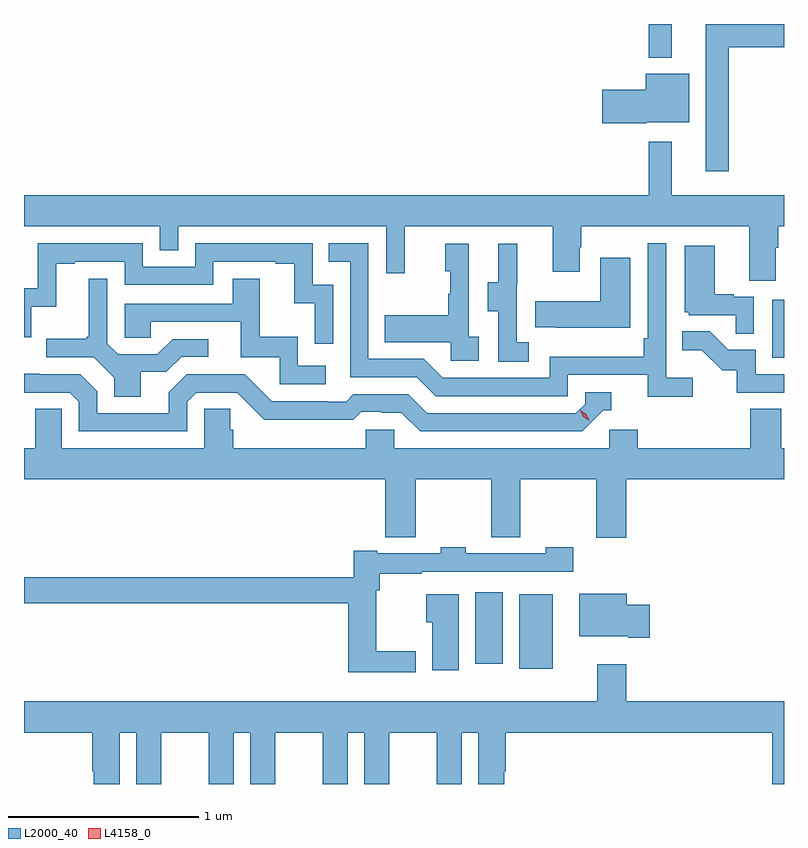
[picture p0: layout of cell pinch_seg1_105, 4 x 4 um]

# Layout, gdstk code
import gdstk
lib = gdstk.Library(unit=1e-6, precision=1e-09)
def R(c, l, rs):  # rectangles x0, y0, x1, y1
    for r in rs: c.add(gdstk.rectangle(r[:2], r[2:], *l))
def P(c, l, *ps):  # polygons
    for p in ps: c.add(gdstk.Polygon(p, *l))
L2000_40 = (2000, 40)
L4158_0 = (4158, 0)

pinch_seg1_105 = lib.new_cell('pinch_seg1_105')
R(pinch_seg1_105, L2000_40, [(1024.724,556.064,1024.9,556.456), (1024.493,556.089,1024.636,556.465), (1026.056,557.7,1026.117,558.007), (1025.406,559.28,1025.527,559.457)])
P(pinch_seg1_105, L2000_40, [(1025.827,559.334),(1026.117,559.334),(1026.117,559.457),(1025.705,559.457),(1025.705,558.681),(1025.827,558.681)],
  [(1025.394,558.941),(1025.617,558.941),(1025.617,559.195),(1025.39,559.195),(1025.39,559.112),(1025.16,559.112),(1025.16,558.934),(1025.394,558.934)],
  [(1026.073,558.28),(1026.086,558.28),(1026.086,558.392),(1026.117,558.392),(1026.117,558.556),(1025.527,558.556),(1025.527,558.838),(1025.406,558.838),(1025.406,558.556),(1022.117,558.556),(1022.117,558.392),(1022.832,558.392),(1022.832,558.265),(1022.928,558.265),(1022.928,558.392),(1024.023,558.392),(1024.023,558.144),(1024.121,558.144),(1024.121,558.392),(1024.901,558.392),(1024.901,558.153),(1025.041,558.153),(1025.041,558.281),(1025.049,558.281),(1025.049,558.392),(1025.933,558.392),(1025.933,558.106),(1026.073,558.106)],
  [(1025.638,557.596),(1025.496,557.596),(1025.496,558.304),(1025.4,558.304),(1025.4,557.803),(1025.38,557.803),(1025.38,557.707),(1024.884,557.707),(1024.884,557.595),(1024.32,557.595),(1024.221,557.694),(1023.93,557.694),(1023.93,558.303),(1023.721,558.303),(1023.721,558.207),(1023.834,558.207),(1023.834,557.598),(1024.184,557.598),(1024.283,557.499),(1024.98,557.499),(1024.98,557.61),(1025.399,557.61),(1025.399,557.494),(1025.638,557.494)],
  [(1023.744,558.084),(1023.636,558.084),(1023.636,558.303),(1023.018,558.303),(1023.018,558.18),(1022.742,558.18),(1022.742,558.303),(1022.19,558.303),(1022.19,558.067),(1022.117,558.067),(1022.117,557.808),(1022.154,557.808),(1022.154,557.969),(1022.287,557.969),(1022.287,558.195),(1022.383,558.195),(1022.383,558.207),(1022.646,558.207),(1022.646,558.084),(1023.114,558.084),(1023.114,558.207),(1023.443,558.207),(1023.443,558.195),(1023.539,558.195),(1023.539,557.987),(1023.648,557.987),(1023.648,557.775),(1023.744,557.775)],
  [(1024.51,557.81),(1024.458,557.81),(1024.458,558.301),(1024.334,558.301),(1024.334,558.156),(1024.36,558.156),(1024.36,558.038),(1024.35,558.038),(1024.35,557.923),(1024.015,557.923),(1024.015,557.783),(1024.362,557.783),(1024.362,557.685),(1024.51,557.685)],
  [(1024.774,557.783),(1024.71,557.783),(1024.71,558.087),(1024.712,558.087),(1024.712,558.301),(1024.613,558.301),(1024.613,558.099),(1024.559,558.099),(1024.559,557.944),(1024.614,557.944),(1024.614,557.68),(1024.774,557.68)],
  [(1025.958,558.021),(1025.852,558.021),(1025.852,558.034),(1025.752,558.034),(1025.752,558.289),(1025.594,558.289),(1025.594,557.94),(1025.616,557.94),(1025.616,557.925),(1025.863,557.925),(1025.863,557.827),(1025.958,557.827)],
  [(1025.308,558.226),(1025.15,558.226),(1025.15,557.998),(1024.807,557.998),(1024.807,557.861),(1024.915,557.861),(1024.915,557.858),(1025.308,557.858)],
  [(1023.706,557.658),(1023.558,557.658),(1023.558,557.812),(1023.359,557.812),(1023.359,558.115),(1023.215,558.115),(1023.215,557.985),(1022.646,557.985),(1022.646,557.805),(1022.783,557.805),(1022.783,557.889),(1023.257,557.889),(1023.257,557.703),(1023.462,557.703),(1023.462,557.562),(1023.706,557.562)],
  [(1022.731,557.626),(1022.866,557.626),(1022.946,557.706),(1023.088,557.706),(1023.088,557.799),(1022.9,557.799),(1022.819,557.718),(1022.613,557.718),(1022.556,557.775),(1022.556,558.115),(1022.459,558.115),(1022.459,557.812),(1022.448,557.812),(1022.448,557.8),(1022.235,557.8),(1022.235,557.703),(1022.484,557.703),(1022.591,557.596),(1022.591,557.494),(1022.731,557.494)],
  [(1026.117,557.613),(1025.967,557.613),(1025.967,557.742),(1025.823,557.742),(1025.725,557.84),(1025.581,557.84),(1025.581,557.741),(1025.685,557.741),(1025.792,557.634),(1025.869,557.634),(1025.869,557.517),(1026.117,557.517)],
  [(1022.976,557.469),(1023.024,557.517),(1023.24,557.517),(1023.382,557.375),(1023.618,557.375),(1023.618,557.373),(1023.851,557.373),(1023.893,557.415),(1023.996,557.415),(1023.996,557.412),(1024.103,557.412),(1024.202,557.313),(1025.055,557.313),(1025.166,557.424),(1025.209,557.424),(1025.209,557.52),(1025.07,557.52),(1025.07,557.457),(1025.022,557.409),(1024.239,557.409),(1024.14,557.508),(1023.851,557.508),(1023.812,557.469),(1023.713,557.469),(1023.713,557.472),(1023.42,557.472),(1023.279,557.613),(1022.973,557.613),(1022.879,557.519),(1022.879,557.409),(1022.502,557.409),(1022.502,557.523),(1022.412,557.613),(1022.196,557.613),(1022.196,557.615),(1022.117,557.615),(1022.117,557.517),(1022.358,557.517),(1022.406,557.469),(1022.406,557.313),(1022.976,557.313)],
  [(1025.288,557.06),(1026.117,557.06),(1026.117,557.224),(1026.103,557.224),(1026.103,557.432),(1025.939,557.432),(1025.939,557.224),(1025.348,557.224),(1025.348,557.322),(1025.196,557.322),(1025.196,557.224),(1024.065,557.224),(1024.065,557.322),(1023.915,557.322),(1023.915,557.224),(1023.218,557.224),(1023.218,557.322),(1023.203,557.322),(1023.203,557.432),(1023.066,557.432),(1023.066,557.224),(1022.316,557.224),(1022.316,557.432),(1022.177,557.432),(1022.177,557.224),(1022.117,557.224),(1022.117,557.06),(1024.019,557.06),(1024.019,556.756),(1024.178,556.756),(1024.178,557.06),(1024.576,557.06),(1024.576,556.756),(1024.73,556.756),(1024.73,557.06),(1025.128,557.06),(1025.128,556.752),(1025.288,556.752)],
  [(1024.18,556.156),(1023.97,556.156),(1023.97,556.478),(1023.989,556.478),(1023.989,556.563),(1024.211,556.563),(1024.211,556.575),(1025.007,556.575),(1025.007,556.704),(1024.863,556.704),(1024.863,556.671),(1024.443,556.671),(1024.443,556.704),(1024.311,556.704),(1024.311,556.671),(1023.976,556.671),(1023.976,556.684),(1023.853,556.684),(1023.853,556.544),(1022.117,556.544),(1022.117,556.408),(1023.824,556.408),(1023.824,556.046),(1024.18,556.046)],
  [(1025.41,556.401),(1025.29,556.401),(1025.29,556.459),(1025.039,556.459),(1025.039,556.235),(1025.297,556.235),(1025.297,556.228),(1025.41,556.228)],
  [(1024.405,556.456),(1024.235,556.456),(1024.235,556.309),(1024.265,556.309),(1024.265,556.056),(1024.405,556.056)],
  [(1022.62,555.728),(1022.708,555.728),(1022.708,555.457),(1022.839,555.457),(1022.839,555.728),(1023.089,555.728),(1023.089,555.457),(1023.22,555.457),(1023.22,555.728),(1023.308,555.728),(1023.308,555.457),(1023.439,555.457),(1023.439,555.728),(1023.689,555.728),(1023.689,555.457),(1023.82,555.457),(1023.82,555.728),(1023.908,555.728),(1023.908,555.457),(1024.039,555.457),(1024.039,555.728),(1024.289,555.728),(1024.289,555.457),(1024.42,555.457),(1024.42,555.728),(1024.508,555.728),(1024.508,555.457),(1024.645,555.457),(1024.645,555.523),(1024.652,555.523),(1024.652,555.728),(1026.056,555.728),(1026.056,555.457),(1026.117,555.457),(1026.117,555.892),(1025.288,555.892),(1025.288,556.087),(1025.135,556.087),(1025.135,555.892),(1022.117,555.892),(1022.117,555.728),(1022.477,555.728),(1022.477,555.523),(1022.483,555.523),(1022.483,555.457),(1022.62,555.457)])
P(pinch_seg1_105, L4158_0, [(1025.092,557.37),(1025.061,557.389),(1025.045,557.422),(1025.045,557.422),(1025.046,557.422),(1025.076,557.403),(1025.092,557.37),(1025.092,557.37)])

lib.write_gds('pinch_seg1_105.gds')
